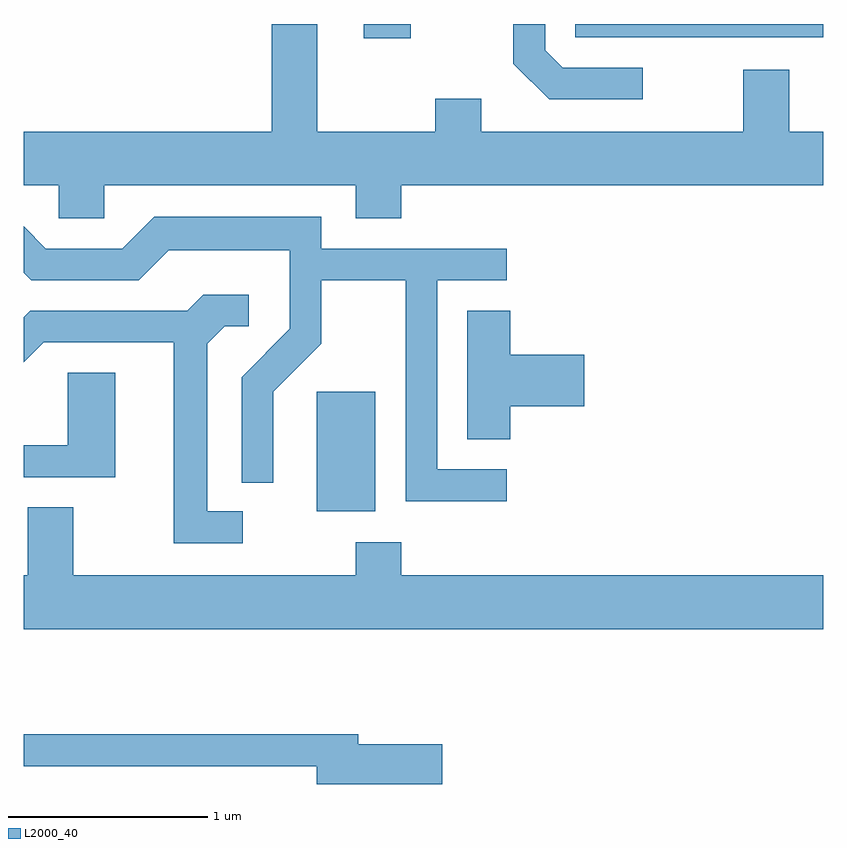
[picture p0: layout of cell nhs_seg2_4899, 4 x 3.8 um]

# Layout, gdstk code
import gdstk
lib = gdstk.Library(unit=1e-6, precision=1e-09)
def R(c, l, rs):  # rectangles x0, y0, x1, y1
    for r in rs: c.add(gdstk.rectangle(r[:2], r[2:], *l))
def P(c, l, *ps):  # polygons
    for p in ps: c.add(gdstk.Polygon(p, *l))
L2000_40 = (2000, 40)

nhs_seg2_4899 = lib.new_cell('nhs_seg2_4899')
R(nhs_seg2_4899, L2000_40, [(331.076,1033.366,331.369,1033.964), (331.311,1035.731,331.548,1035.802), (332.371,1035.736,333.611,1035.802)])
P(nhs_seg2_4899, L2000_40, [(332.708,1035.584),(332.307,1035.584),(332.219,1035.671),(332.219,1035.802),(332.061,1035.802),(332.061,1035.603),(332.239,1035.426),(332.708,1035.426)],
  [(330.014,1034.996),(331.271,1034.996),(331.271,1034.831),(331.499,1034.831),(331.499,1034.996),(333.611,1034.996),(333.611,1035.264),(333.439,1035.264),(333.439,1035.574),(333.211,1035.574),(333.211,1035.264),(331.899,1035.264),(331.899,1035.429),(331.671,1035.429),(331.671,1035.264),(331.079,1035.264),(331.079,1035.802),(330.851,1035.802),(330.851,1035.264),(329.611,1035.264),(329.611,1034.996),(329.786,1034.996),(329.786,1034.831),(330.014,1034.831)],
  [(332.028,1033.574),(331.679,1033.574),(331.679,1034.521),(332.028,1034.521),(332.028,1034.679),(331.099,1034.679),(331.099,1034.839),(330.264,1034.839),(330.104,1034.679),(329.722,1034.679),(329.611,1034.79),(329.611,1034.559),(329.649,1034.521),(330.187,1034.521),(330.337,1034.671),(330.941,1034.671),(330.941,1034.277),(330.701,1034.036),(330.701,1033.507),(330.859,1033.507),(330.859,1033.964),(331.099,1034.204),(331.099,1034.521),(331.521,1034.521),(331.521,1033.416),(332.028,1033.416)],
  [(330.708,1033.364),(330.529,1033.364),(330.529,1034.204),(330.617,1034.291),(330.738,1034.291),(330.738,1034.449),(330.509,1034.449),(330.429,1034.369),(329.644,1034.369),(329.611,1034.336),(329.611,1034.111),(329.712,1034.211),(330.361,1034.211),(330.361,1033.206),(330.708,1033.206)],
  [(332.044,1033.891),(332.414,1033.891),(332.414,1034.149),(332.044,1034.149),(332.044,1034.369),(331.831,1034.369),(331.831,1033.726),(332.044,1033.726)],
  [(330.069,1034.059),(329.831,1034.059),(329.831,1033.694),(329.611,1033.694),(329.611,1033.536),(330.069,1033.536)],
  [(333.611,1033.044),(331.499,1033.044),(331.499,1033.209),(331.271,1033.209),(331.271,1033.044),(329.859,1033.044),(329.859,1033.384),(329.631,1033.384),(329.631,1033.044),(329.611,1033.044),(329.611,1032.776),(333.611,1032.776)],
  [(331.704,1032.199),(331.284,1032.199),(331.284,1032.249),(329.611,1032.249),(329.611,1032.091),(331.076,1032.091),(331.076,1032.001),(331.704,1032.001)])

lib.write_gds('nhs_seg2_4899.gds')
